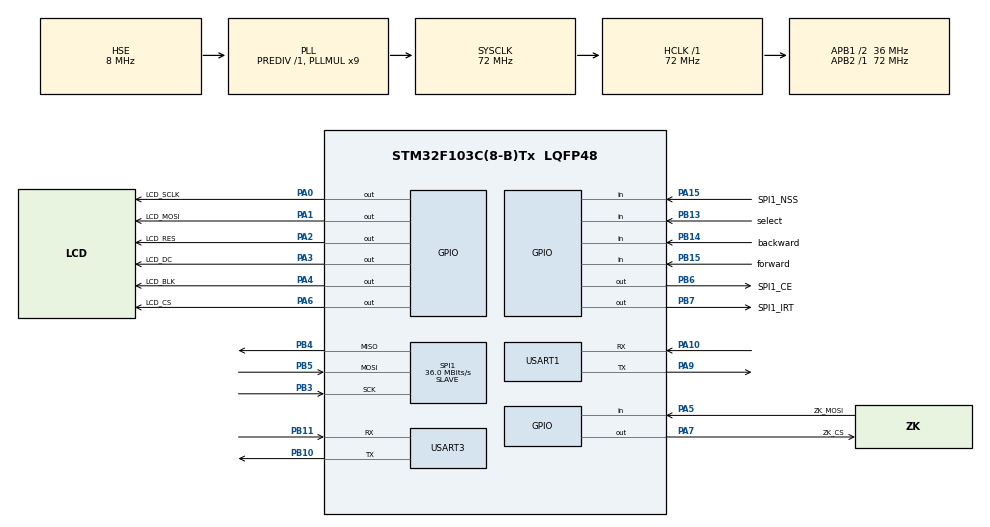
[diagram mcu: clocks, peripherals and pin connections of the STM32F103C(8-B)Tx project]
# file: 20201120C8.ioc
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Dma.Request0=SPI1_RX
Dma.SPI1_RX.0.Direction=DMA_PERIPH_TO_MEMORY
Dma.SPI1_RX.0.Instance=DMA1_Channel2
Dma.SPI1_RX.0.MemDataAlignment=DMA_MDATAALIGN_BYTE
Dma.SPI1_RX.0.MemInc=DMA_MINC_ENABLE
Dma.SPI1_RX.0.Mode=DMA_CIRCULAR
Dma.SPI1_RX.0.PeriphDataAlignment=DMA_PDATAALIGN_BYTE
Dma.SPI1_RX.0.PeriphInc=DMA_PINC_DISABLE
Dma.SPI1_RX.0.Priority=DMA_PRIORITY_LOW
Mcu.Family=STM32F1
Mcu.Name=STM32F103C(8-B)Tx
Mcu.Package=LQFP48
NVIC.DMA1_Channel2_IRQn=true\:0\:0\:false\:false\:true\:false\:true
NVIC.PriorityGroup=NVIC_PRIORITYGROUP_4
NVIC.TIM1_UP_IRQn=true\:0\:0\:false\:false\:true\:true\:true
PA0-WKUP.GPIO_Label=LCD_SCLK
PA0-WKUP.Signal=GPIO_Output
PA1.GPIO_Label=LCD_MOSI
PA1.Signal=GPIO_Output
PA10.Mode=Asynchronous
PA10.Signal=USART1_RX
PA13.Mode=Serial_Wire
PA13.Signal=SYS_JTMS-SWDIO
PA14.Mode=Serial_Wire
PA14.Signal=SYS_JTCK-SWCLK
PA15.GPIO_Label=SPI1_NSS
PA15.GPIO_PuPd=GPIO_PULLUP
PA15.Signal=GPIO_Input
PA2.GPIO_Label=LCD_RES
PA2.Signal=GPIO_Output
PA3.GPIO_Label=LCD_DC
PA3.Signal=GPIO_Output
PA4.GPIO_Label=LCD_BLK
PA4.Signal=GPIO_Output
PA5.GPIO_Label=ZK_MOSI
PA5.Signal=GPIO_Input
PA6.GPIO_Label=LCD_CS
PA6.Signal=GPIO_Output
PA7.GPIO_Label=ZK_CS
PA7.Signal=GPIO_Output
PA9.Mode=Asynchronous
PA9.Signal=USART1_TX
PB10.Mode=Asynchronous
PB10.Signal=USART3_TX
PB11.Mode=Asynchronous
PB11.Signal=USART3_RX
PB13.GPIO_Label=select
PB13.GPIO_PuPd=GPIO_PULLUP
PB13.Signal=GPIO_Input
PB14.GPIO_Label=backward
PB14.GPIO_PuPd=GPIO_PULLUP
PB14.Signal=GPIO_Input
PB15.GPIO_Label=forward
PB15.GPIO_PuPd=GPIO_PULLUP
PB15.Signal=GPIO_Input
PB3.Mode=Full_Duplex_Slave
PB3.Signal=SPI1_SCK
PB4.Mode=Full_Duplex_Slave
PB4.Signal=SPI1_MISO
PB5.Mode=Full_Duplex_Slave
PB5.Signal=SPI1_MOSI
PB6.GPIO_Label=SPI1_CE
PB6.GPIO_PuPd=GPIO_PULLUP
PB6.PinState=GPIO_PIN_SET
PB6.Signal=GPIO_Output
PB7.GPIO_Label=SPI1_IRT
PB7.GPIO_PuPd=GPIO_PULLUP
PB7.Signal=GPIO_Output
PC14-OSC32_IN.Mode=LSE-External-Oscillator
PC14-OSC32_IN.Signal=RCC_OSC32_IN
PC15-OSC32_OUT.Mode=LSE-External-Oscillator
PC15-OSC32_OUT.Signal=RCC_OSC32_OUT
PD0-OSC_IN.Mode=HSE-External-Oscillator
PD0-OSC_IN.Signal=RCC_OSC_IN
PD1-OSC_OUT.Mode=HSE-External-Oscillator
PD1-OSC_OUT.Signal=RCC_OSC_OUT
ProjectManager.HeapSize=0x200
ProjectManager.StackSize=0x400
ProjectManager.TargetToolchain=STM32CubeIDE
RCC.AHBFreq_Value=72000000
RCC.APB1CLKDivider=RCC_HCLK_DIV2
RCC.APB1Freq_Value=36000000
RCC.APB1TimFreq_Value=72000000
RCC.APB2Freq_Value=72000000
RCC.APB2TimFreq_Value=72000000
RCC.HCLKFreq_Value=72000000
RCC.PLLMUL=RCC_PLL_MUL9
RCC.PLLSourceVirtual=RCC_PLLSOURCE_HSE
RCC.SYSCLKFreq_VALUE=72000000
RCC.SYSCLKSource=RCC_SYSCLKSOURCE_PLLCLK
RCC.USBFreq_Value=72000000
SPI1.BaudRatePrescaler=SPI_BAUDRATEPRESCALER_2
SPI1.CalculateBaudRate=36.0 MBits/s
SPI1.Direction=SPI_DIRECTION_2LINES
SPI1.Mode=SPI_MODE_SLAVE
SPI1.VirtualType=VM_SLAVE
TIM1.Period=1000-1
TIM1.Prescaler=72-1
USART1.VirtualMode=VM_ASYNC
USART3.VirtualMode=VM_ASYNC
VP_RTC_VS_RTC_Activate.Mode=RTC_Enabled
VP_RTC_VS_RTC_Calendar.Mode=RTC_Calendar
VP_TIM1_VS_ClockSourceINT.Mode=Internal
board=custom

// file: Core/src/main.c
/* USER CODE BEGIN Header */
/**
  ******************************************************************************
  * @file           : main.c
  * @brief          : Main program body
  ******************************************************************************
  * @attention
  *
  * <h2><center>&copy; Copyright (c) 2020 STMicroelectronics.
  * All rights reserved.</center></h2>
  *
  * This software component is licensed by ST under BSD 3-Clause license,
  * the "License"; You may not use this file except in compliance with the
  * License. You may obtain a copy of the License at:
  *                        opensource.org/licenses/BSD-3-Clause
  *
  ******************************************************************************
  */
/* USER CODE END Header */
#include "main.h"
#include "dma.h"
#include "rtc.h"
#include "spi.h"
#include "tim.h"
#include "usart.h"
#include "gpio.h"

/* USER CODE BEGIN Includes */
#include "lcd_init.h"
#include "lcd.h"
#include "lcd_front.h"
#include "delay.h"
#include "alternating.h"
#include "spi01.h"
#include "stdint.h"
/* USER CODE END Includes */

/* USER CODE BEGIN PTD */

unsigned char date_r[8]={0};
unsigned char date_w[8]={0};
/* USER CODE END PTD */

/* USER CODE BEGIN PV */
int LCD_FLAG=0;
int POTECT_FLAG=0;
unsigned char BUF[150]={0};

/* USER CODE END PV */

void SystemClock_Config(void);

/* USER CODE BEGIN 0 */

HAL_TIM_PeriodElapsedCallback(TIM_HandleTypeDef *htim)
{
	LCD_FLAG++;
	POTECT_FLAG++;
	if(htim==(&htim1))
	{
		if(LCD_FLAG==2)//周期200ms
		{

		//	HAL_GPIO_WritePin(SPI1_NSS_GPIO_Port,SPI1_NSS_Pin,1);
			HAL_SPI_Receive_DMA(&hspi1,date_r,8);
			//HAL_GPIO_WritePin(SPI1_NSS_GPIO_Port,SPI1_NSS_Pin,0);
			//date_r[0]=L01_ReadSingleReg(0x50);
			uint8_t date[1]={0x02};
			  uint8_t input=0x03;
				  //HAL_SPI_Transmit(&hspi1,&input,1,1000);
				  L01_ReadSingleReg(input);
			LCD_ShowString(0,0,"                     ",WHITE,BLACK,24,0);//清行代码
			LCD_ShowIntNum(40,0,date_r[0],3,WHITE,BLACK,24);
			delay_ms(10);

			LCD_ShowString(0,30,"                     ",WHITE,BLACK,24,0);//清行代码
			LCD_ShowIntNum(40,30,date_r[1],3,WHITE,BLACK,24);
			delay_ms(10);

			LCD_ShowString(0,60,"                     ",WHITE,BLACK,24,0);//清行代码
			LCD_ShowIntNum(40,60,date_r[2],3,WHITE,BLACK,24);
			delay_ms(10);

			/*LCD_ShowString(0,90,"                     ",WHITE,BLACK,24,0);//清行代码
			LCD_ShowIntNum(40,90,date_r[3],3,WHITE,BLACK,24);
			delay_ms(100);

			LCD_ShowString(0,120,"                     ",WHITE,BLACK,24,0);//清行代码
			LCD_ShowIntNum(40,120,date_r[4],3,WHITE,BLACK,24);
			delay_ms(100);

			LCD_ShowString(0,150,"                     ",WHITE,BLACK,24,0);//清行代码
			LCD_ShowIntNum(40,150,date_r[5],3,WHITE,BLACK,24);
			delay_ms(100);

			LCD_ShowString(0,180,"                     ",WHITE,BLACK,24,0);//清行代码
			LCD_ShowIntNum(40,180,date_r[6],3,WHITE,BLACK,24);
			delay_ms(100);

			LCD_ShowString(0,210,"                     ",WHITE,BLACK,24,0);//清行代码
			LCD_ShowIntNum(40,210,date_r[7],3,WHITE,BLACK,24);

			delay_ms(100);

	//	SYS_DEFEND(BUF);

			LCD_FLAG=0;
		}
		//delay_ms(10000);
		if(POTECT_FLAG==10)//周期10ms
		{
			Ptotect();
			POTECT_FLAG=0;
		}
	}
}

/* USER CODE END 0 */

int main(void)
{

  /* MCU Configuration--------------------------------------------------------*/

  /* Reset of all peripherals, Initializes the Flash interface and the Systick. */
  HAL_Init();

  /* Configure the system clock */
  SystemClock_Config();

  /* Initialize all configured peripherals */
  MX_GPIO_Init();
  MX_DMA_Init();
  MX_RTC_Init();
  MX_USART3_UART_Init();
  MX_TIM1_Init();
  MX_USART1_UART_Init();
  MX_SPI1_Init();
  /* USER CODE BEGIN 2 */
  LCD_Init();
  LCD_Fill(0,0,LCD_W,LCD_H,BLACK );
  L01_CE_HIGH();
  L01_CSN_LOW();
	HAL_GPIO_WritePin(SPI1_CE_GPIO_Port,SPI1_CE_Pin,1);
  HAL_TIM_Base_Start_IT(&htim1);

  /* USER CODE END 2 */

  /* Infinite loop */
  while (1)
  {

  }
}

void SystemClock_Config(void)
{
  RCC_OscInitTypeDef RCC_OscInitStruct = {0};
  RCC_ClkInitTypeDef RCC_ClkInitStruct = {0};
  RCC_PeriphCLKInitTypeDef PeriphClkInit = {0};

  /** Initializes the RCC Oscillators according to the specified parameters
  * in the RCC_OscInitTypeDef structure.
  */
  RCC_OscInitStruct.OscillatorType = RCC_OSCILLATORTYPE_LSI|RCC_OSCILLATORTYPE_HSE;
  RCC_OscInitStruct.HSEState = RCC_HSE_ON;
  RCC_OscInitStruct.HSEPredivValue = RCC_HSE_PREDIV_DIV1;
  RCC_OscInitStruct.HSIState = RCC_HSI_ON;
  RCC_OscInitStruct.LSIState = RCC_LSI_ON;
  RCC_OscInitStruct.PLL.PLLState = RCC_PLL_ON;
  RCC_OscInitStruct.PLL.PLLSource = RCC_PLLSOURCE_HSE;
  RCC_OscInitStruct.PLL.PLLMUL = RCC_PLL_MUL9;
  if (HAL_RCC_OscConfig(&RCC_OscInitStruct) != HAL_OK)
  {
    Error_Handler();
  }
  /** Initializes the CPU, AHB and APB buses clocks
  */
  RCC_ClkInitStruct.ClockType = RCC_CLOCKTYPE_HCLK|RCC_CLOCKTYPE_SYSCLK
                              |RCC_CLOCKTYPE_PCLK1|RCC_CLOCKTYPE_PCLK2;
  RCC_ClkInitStruct.SYSCLKSource = RCC_SYSCLKSOURCE_PLLCLK;
  RCC_ClkInitStruct.AHBCLKDivider = RCC_SYSCLK_DIV1;
  RCC_ClkInitStruct.APB1CLKDivider = RCC_HCLK_DIV2;
  RCC_ClkInitStruct.APB2CLKDivider = RCC_HCLK_DIV1;

  if (HAL_RCC_ClockConfig(&RCC_ClkInitStruct, FLASH_LATENCY_2) != HAL_OK)
  {
    Error_Handler();
  }
  PeriphClkInit.PeriphClockSelection = RCC_PERIPHCLK_RTC;
  PeriphClkInit.RTCClockSelection = RCC_RTCCLKSOURCE_LSI;
  if (HAL_RCCEx_PeriphCLKConfig(&PeriphClkInit) != HAL_OK)
  {
    Error_Handler();
  }
}

void Error_Handler(void)
{
}

/************************ (C) COPYRIGHT STMicroelectronics *****END OF FILE****/
